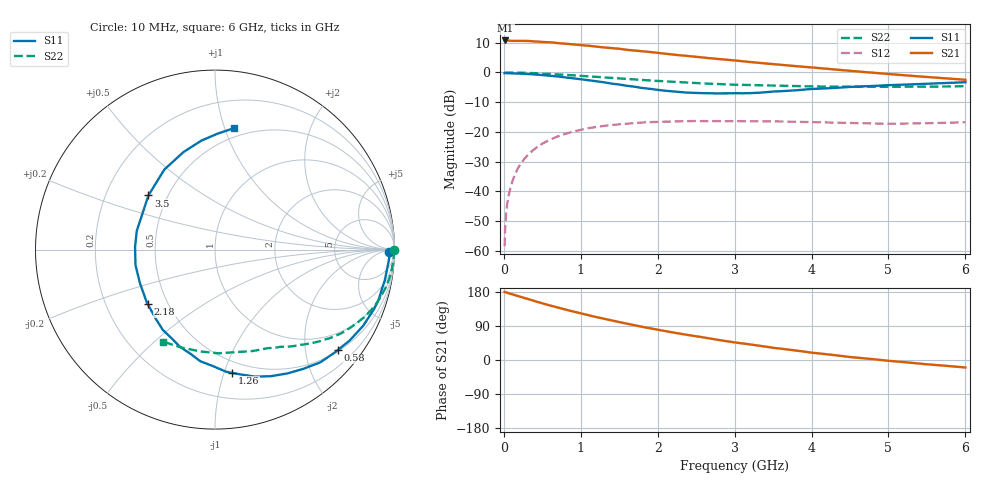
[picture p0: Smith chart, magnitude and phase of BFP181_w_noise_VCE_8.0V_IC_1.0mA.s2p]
! Infineon Technologies  Discrete & RF Semiconductors
! BFP181
! VCE = 8.0 V,  IC =  1.0 mA
! Common Emitter S-Parameters:  Jan 2016
# GHz  S  MA  R  50
!  f  S11  S21  S12  S22
! GHz  MAG  ANG  MAG  ANG  MAG  ANG  MAG  ANG
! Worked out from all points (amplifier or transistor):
!   210 points, 10 MHz to 6 GHz, reference 50 ohm
!   highest |S21| = 10.8 dB at 20 MHz (marker M1)
!   |S21| within 3 dB of that: start of sweep to 1.557 GHz
!   unconditionally stable (mu >= 1): 3.144 GHz to end of sweep
!   at 185 MHz: K = 0.07, MSG = 21.4 dB, |S12| = -32.1 dB
!   at 1.52 GHz: K = 0.52, MSG = 12.6 dB, |S12| = -17.4 dB
!   at 6 GHz: K = 1.26, MAG = 4.1 dB, |S12| = -16.7 dB
!   lowest NFmin = 1.30 dB at 450 MHz
!   S11 on the Smith chart (normalised r, x): 10 MHz: 57, -23; 580 MHz: 0.53, -2.71; 1.26 GHz: 0.40, -1.06; 2.18 GHz: 0.39, -0.31; 3.5 GHz: 0.39, +0.31; 6 GHz: 0.42, +1.08
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0.01  0.9706 -0.7  3.448 179.5  0.0012 87.0  0.9978 -0.2
0.02  0.9742 -1.3  3.452 179.3  0.0028 83.5  0.9972 -0.7
0.04  0.972 -2.6  3.437 177.7  0.0056 90.1  0.9969 -1.3
0.065  0.9686 -4.3  3.42 176.0  0.0088 88.2  0.9963 -2.1
0.18  0.9571 -12.4  3.398 169.0  0.0241 81.6  0.9916 -5.8
0.3  0.9455 -20.6  3.397 162.2  0.0394 76.2  0.9834 -9.7
0.4  0.9287 -27.1  3.334 155.5  0.0518 71.7  0.9732 -12.8
0.58  0.8842 -39.3  3.23 145.0  0.0721 63.9  0.9488 -18.3
0.8  0.8261 -53.6  3.061 133.1  0.0928 55.0  0.913 -24.3
1.02  0.7644 -67.4  2.856 122.0  0.1098 47.4  0.8735 -29.6
1.1  0.7415 -72.6  2.819 117.7  0.1158 44.8  0.8595 -31.4
1.26  0.6932 -82.2  2.668 110.7  0.1243 39.5  0.8313 -34.9
1.5  0.6273 -97.5  2.504 99.9  0.1343 33.1  0.7896 -39.4
1.8  0.5482 -116.7  2.268 87.4  0.1442 26.3  0.7467 -44.3
2.02  0.5059 -131.1  2.125 79.1  0.1481 21.8  0.7172 -47.6
2.18  0.4825 -140.9  2.009 73.3  0.1501 18.9  0.6983 -50.2
2.78  0.4452 179.6  1.69 53.3  0.1527 10.0  0.6407 -58.7
3.1  0.4467 161.3  1.544 43.9  0.1515 6.4  0.6178 -63.4
3.5  0.4781 140.9  1.384 32.2  0.151 2.7  0.6034 -69.4
4.1  0.5334 119.3  1.183 17.3  0.1449 -0.7  0.5813 -80.2
5.1  0.6174 95.4  0.92 -3.8  0.1377 -1.6  0.5724 -100.3
6  0.6848 81.1  0.753 -19.8  0.1454 0.6  0.5887 -119.3
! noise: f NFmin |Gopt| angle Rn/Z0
0.45  1.3  0.7  18  0.5
0.9  1.4  0.6  39  0.52
1.8  1.85  0.4  81  0.47
